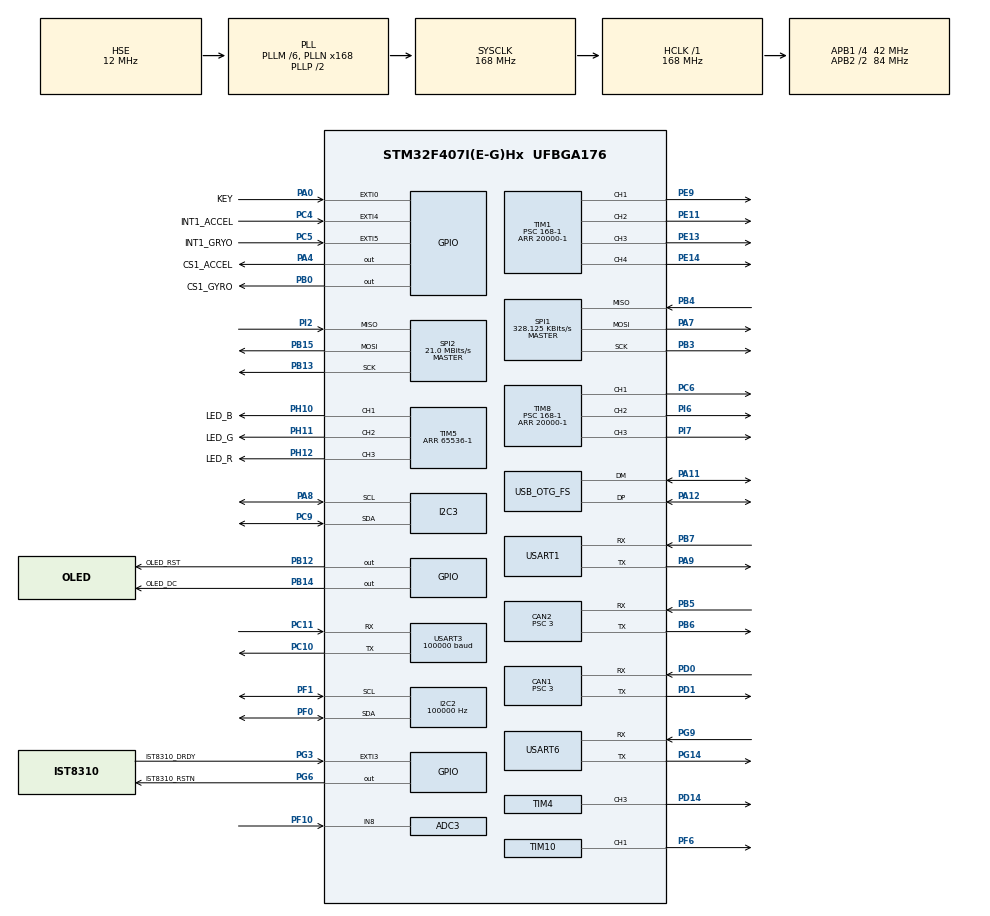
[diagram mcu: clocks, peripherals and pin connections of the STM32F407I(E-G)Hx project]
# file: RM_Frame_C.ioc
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ADC1.Channel-3\#ChannelRegularConversion=ADC_CHANNEL_VREFINT
ADC1.ContinuousConvMode=ENABLE
ADC1.NbrOfConversionFlag=1
ADC1.Rank-3\#ChannelRegularConversion=1
ADC1.SamplingTime-3\#ChannelRegularConversion=ADC_SAMPLETIME_3CYCLES
ADC1.master=1
ADC3.Channel-0\#ChannelRegularConversion=ADC_CHANNEL_8
ADC3.ContinuousConvMode=ENABLE
ADC3.NbrOfConversionFlag=1
ADC3.Rank-0\#ChannelRegularConversion=1
ADC3.SamplingTime-0\#ChannelRegularConversion=ADC_SAMPLETIME_3CYCLES
CAN1.BS1=CAN_BS1_10TQ
CAN1.BS2=CAN_BS2_3TQ
CAN1.CalculateBaudRate=1000000
CAN1.CalculateTimeQuantum=71.42857142857143
CAN1.Prescaler=3
CAN2.BS1=CAN_BS1_10TQ
CAN2.BS2=CAN_BS2_3TQ
CAN2.CalculateBaudRate=1000000
CAN2.CalculateTimeQuantum=71.42857142857143
CAN2.Prescaler=3
Dma.Request0=USART3_RX
Dma.Request1=SPI1_RX
Dma.Request2=SPI1_TX
Dma.Request3=SPI2_TX
Dma.Request4=USART6_RX
Dma.SPI1_RX.1.Direction=DMA_PERIPH_TO_MEMORY
Dma.SPI1_RX.1.FIFOMode=DMA_FIFOMODE_DISABLE
Dma.SPI1_RX.1.Instance=DMA2_Stream0
Dma.SPI1_RX.1.MemDataAlignment=DMA_MDATAALIGN_BYTE
Dma.SPI1_RX.1.MemInc=DMA_MINC_ENABLE
Dma.SPI1_RX.1.Mode=DMA_NORMAL
Dma.SPI1_RX.1.PeriphDataAlignment=DMA_PDATAALIGN_BYTE
Dma.SPI1_RX.1.PeriphInc=DMA_PINC_DISABLE
Dma.SPI1_RX.1.Priority=DMA_PRIORITY_VERY_HIGH
Dma.SPI1_TX.2.Direction=DMA_MEMORY_TO_PERIPH
Dma.SPI1_TX.2.FIFOMode=DMA_FIFOMODE_DISABLE
Dma.SPI1_TX.2.Instance=DMA2_Stream3
Dma.SPI1_TX.2.MemDataAlignment=DMA_MDATAALIGN_BYTE
Dma.SPI1_TX.2.MemInc=DMA_MINC_ENABLE
Dma.SPI1_TX.2.Mode=DMA_NORMAL
Dma.SPI1_TX.2.PeriphDataAlignment=DMA_PDATAALIGN_BYTE
Dma.SPI1_TX.2.PeriphInc=DMA_PINC_DISABLE
Dma.SPI1_TX.2.Priority=DMA_PRIORITY_HIGH
Dma.SPI2_TX.3.Direction=DMA_MEMORY_TO_PERIPH
Dma.SPI2_TX.3.FIFOMode=DMA_FIFOMODE_DISABLE
Dma.SPI2_TX.3.Instance=DMA1_Stream4
Dma.SPI2_TX.3.MemDataAlignment=DMA_MDATAALIGN_BYTE
Dma.SPI2_TX.3.MemInc=DMA_MINC_ENABLE
Dma.SPI2_TX.3.Mode=DMA_NORMAL
Dma.SPI2_TX.3.PeriphDataAlignment=DMA_PDATAALIGN_BYTE
Dma.SPI2_TX.3.PeriphInc=DMA_PINC_DISABLE
Dma.SPI2_TX.3.Priority=DMA_PRIORITY_HIGH
Dma.USART3_RX.0.Direction=DMA_PERIPH_TO_MEMORY
Dma.USART3_RX.0.FIFOMode=DMA_FIFOMODE_DISABLE
Dma.USART3_RX.0.Instance=DMA1_Stream1
Dma.USART3_RX.0.MemDataAlignment=DMA_MDATAALIGN_BYTE
Dma.USART3_RX.0.MemInc=DMA_MINC_ENABLE
Dma.USART3_RX.0.Mode=DMA_NORMAL
Dma.USART3_RX.0.PeriphDataAlignment=DMA_PDATAALIGN_BYTE
Dma.USART3_RX.0.PeriphInc=DMA_PINC_DISABLE
Dma.USART3_RX.0.Priority=DMA_PRIORITY_VERY_HIGH
Dma.USART6_RX.4.Direction=DMA_PERIPH_TO_MEMORY
Dma.USART6_RX.4.FIFOMode=DMA_FIFOMODE_DISABLE
Dma.USART6_RX.4.Instance=DMA2_Stream1
Dma.USART6_RX.4.MemDataAlignment=DMA_MDATAALIGN_BYTE
Dma.USART6_RX.4.MemInc=DMA_MINC_ENABLE
Dma.USART6_RX.4.Mode=DMA_NORMAL
Dma.USART6_RX.4.PeriphDataAlignment=DMA_PDATAALIGN_BYTE
Dma.USART6_RX.4.PeriphInc=DMA_PINC_DISABLE
Dma.USART6_RX.4.Priority=DMA_PRIORITY_VERY_HIGH
I2C2.ClockSpeed=100000
I2C2.DutyCycle=I2C_DUTYCYCLE_2
I2C2.I2C_Mode=I2C_Standard
I2C3.I2C_Mode=I2C_Fast
IWDG.Prescaler=IWDG_PRESCALER_8
IWDG.Reload=0xfff
Mcu.Family=STM32F4
Mcu.Name=STM32F407I(E-G)Hx
Mcu.Package=UFBGA176
NVIC.CAN1_RX0_IRQn=true\:0\:0\:false\:false\:true\:true\:true\:true
NVIC.CAN2_RX0_IRQn=true\:1\:0\:true\:false\:true\:true\:true\:true
NVIC.DMA1_Stream1_IRQn=true\:0\:0\:false\:false\:true\:false\:true\:true
NVIC.DMA1_Stream4_IRQn=true\:0\:0\:false\:false\:true\:false\:true\:true
NVIC.DMA2_Stream0_IRQn=true\:0\:0\:false\:false\:true\:false\:true\:true
NVIC.DMA2_Stream1_IRQn=true\:0\:0\:false\:false\:true\:false\:true\:true
NVIC.DMA2_Stream3_IRQn=true\:0\:0\:false\:false\:true\:false\:true\:true
NVIC.EXTI0_IRQn=true\:10\:0\:true\:false\:true\:true\:true\:true
NVIC.EXTI3_IRQn=true\:5\:0\:true\:false\:true\:true\:true\:true
NVIC.EXTI4_IRQn=true\:5\:0\:true\:false\:true\:true\:true\:true
NVIC.EXTI9_5_IRQn=true\:5\:0\:true\:false\:true\:true\:true\:true
NVIC.I2C2_ER_IRQn=true\:0\:0\:false\:false\:true\:true\:true\:true
NVIC.I2C2_EV_IRQn=true\:0\:0\:false\:false\:true\:true\:true\:true
NVIC.OTG_FS_IRQn=true\:0\:0\:false\:false\:true\:false\:true\:true
NVIC.PriorityGroup=NVIC_PRIORITYGROUP_4
NVIC.SPI2_IRQn=true\:10\:0\:true\:false\:true\:true\:true\:true
NVIC.TIM1_TRG_COM_TIM11_IRQn=true\:0\:0\:false\:false\:true\:true\:true\:true
NVIC.TIM1_UP_TIM10_IRQn=true\:10\:0\:true\:false\:true\:true\:true\:true
NVIC.TIM6_DAC_IRQn=true\:8\:0\:true\:false\:true\:true\:true\:true
NVIC.TIM7_IRQn=true\:2\:0\:true\:false\:true\:true\:true\:true
NVIC.USART1_IRQn=true\:4\:0\:true\:false\:true\:true\:true\:true
NVIC.USART3_IRQn=true\:0\:0\:true\:false\:false\:true\:true\:true
NVIC.USART6_IRQn=true\:4\:0\:true\:false\:true\:true\:true\:true
PA0-WKUP.GPIO_Label=KEY
PA0-WKUP.GPIO_ModeDefaultEXTI=GPIO_MODE_IT_RISING_FALLING
PA0-WKUP.GPIO_PuPd=GPIO_NOPULL
PA0-WKUP.Signal=GPXTI0
PA11.Mode=Device_Only
PA11.Signal=USB_OTG_FS_DM
PA12.Mode=Device_Only
PA12.Signal=USB_OTG_FS_DP
PA13.Mode=Serial_Wire
PA13.Signal=SYS_JTMS-SWDIO
PA14.Mode=Serial_Wire
PA14.Signal=SYS_JTCK-SWCLK
PA4.GPIO_Label=CS1_ACCEL
PA4.GPIO_PuPd=GPIO_PULLUP
PA4.GPIO_Speed=GPIO_SPEED_FREQ_HIGH
PA4.PinState=GPIO_PIN_SET
PA4.Signal=GPIO_Output
PA7.Mode=Full_Duplex_Master
PA7.Signal=SPI1_MOSI
PA8.GPIO_Pu=GPIO_PULLUP
PA8.Mode=I2C
PA8.Signal=I2C3_SCL
PA9.Mode=Asynchronous
PA9.Signal=USART1_TX
PB0.GPIO_Label=CS1_GYRO
PB0.GPIO_PuPd=GPIO_PULLUP
PB0.GPIO_Speed=GPIO_SPEED_FREQ_HIGH
PB0.PinState=GPIO_PIN_SET
PB0.Signal=GPIO_Output
PB12.GPIO_Label=OLED_RST
PB12.GPIO_PuPd=GPIO_PULLUP
PB12.GPIO_Speed=GPIO_SPEED_FREQ_HIGH
PB12.PinState=GPIO_PIN_SET
PB12.Signal=GPIO_Output
PB13.Mode=Full_Duplex_Master
PB13.Signal=SPI2_SCK
PB14.GPIO_Label=OLED_DC
PB14.GPIO_PuPd=GPIO_PULLUP
PB14.GPIO_Speed=GPIO_SPEED_FREQ_HIGH
PB14.PinState=GPIO_PIN_SET
PB14.Signal=GPIO_Output
PB15.Mode=Full_Duplex_Master
PB15.Signal=SPI2_MOSI
PB3.Mode=Full_Duplex_Master
PB3.Signal=SPI1_SCK
PB4.Mode=Full_Duplex_Master
PB4.Signal=SPI1_MISO
PB5.Mode=CAN_Activate
PB5.Signal=CAN2_RX
PB6.Mode=CAN_Activate
PB6.Signal=CAN2_TX
PB7.Mode=Asynchronous
PB7.Signal=USART1_RX
PC10.Mode=Asynchronous
PC10.Signal=USART3_TX
PC11.Mode=Asynchronous
PC11.Signal=USART3_RX
PC4.GPIO_Label=INT1_ACCEL
PC4.GPIO_ModeDefaultEXTI=GPIO_MODE_IT_FALLING
PC4.GPIO_PuPd=GPIO_PULLUP
PC4.Signal=GPXTI4
PC5.GPIO_Label=INT1_GRYO
PC5.GPIO_ModeDefaultEXTI=GPIO_MODE_IT_FALLING
PC5.GPIO_PuPd=GPIO_PULLUP
PC5.Signal=GPXTI5
PC6.Signal=S_TIM8_CH1
PC9.GPIO_Pu=GPIO_PULLUP
PC9.Mode=I2C
PC9.Signal=I2C3_SDA
PD0.Mode=CAN_Activate
PD0.Signal=CAN1_RX
PD1.Mode=CAN_Activate
PD1.Signal=CAN1_TX
PD14.Signal=S_TIM4_CH3
PE11.Signal=S_TIM1_CH2
PE13.Signal=S_TIM1_CH3
PE14.Signal=S_TIM1_CH4
PE9.Signal=S_TIM1_CH1
PF0.GPIO_Pu=GPIO_PULLUP
PF0.Mode=I2C
PF0.Signal=I2C2_SDA
PF1.GPIO_Pu=GPIO_PULLUP
PF1.Mode=I2C
PF1.Signal=I2C2_SCL
PF10.Mode=IN8
PF10.Signal=ADC3_IN8
PF6.Signal=S_TIM10_CH1
PG14.Mode=Asynchronous
PG14.Signal=USART6_TX
PG3.GPIO_Label=IST8310_DRDY
PG3.GPIO_ModeDefaultEXTI=GPIO_MODE_IT_FALLING
PG3.GPIO_PuPd=GPIO_PULLUP
PG3.Signal=GPXTI3
PG6.GPIO_Label=IST8310_RSTN
PG6.GPIO_PuPd=GPIO_PULLUP
PG6.GPIO_Speed=GPIO_SPEED_FREQ_MEDIUM
PG6.PinState=GPIO_PIN_SET
PG6.Signal=GPIO_Output
PG9.Mode=Asynchronous
PG9.Signal=USART6_RX
PH0-OSC_IN.Mode=HSE-External-Oscillator
PH0-OSC_IN.Signal=RCC_OSC_IN
PH1-OSC_OUT.Mode=HSE-External-Oscillator
PH1-OSC_OUT.Signal=RCC_OSC_OUT
PH10.GPIO_Label=LED_B
PH10.GPIO_ModeDefaultPP=GPIO_MODE_AF_PP
PH10.GPIO_PuPd=GPIO_NOPULL
PH10.GPIO_Speed=GPIO_SPEED_FREQ_LOW
PH10.Signal=S_TIM5_CH1
PH11.GPIO_Label=LED_G
PH11.GPIO_ModeDefaultPP=GPIO_MODE_AF_PP
PH11.GPIO_PuPd=GPIO_NOPULL
PH11.GPIO_Speed=GPIO_SPEED_FREQ_LOW
PH11.Signal=S_TIM5_CH2
PH12.GPIO_Label=LED_R
PH12.GPIO_ModeDefaultPP=GPIO_MODE_AF_PP
PH12.GPIO_PuPd=GPIO_NOPULL
PH12.GPIO_Speed=GPIO_SPEED_FREQ_LOW
PH12.Signal=S_TIM5_CH3
PI2.Mode=Full_Duplex_Master
PI2.Signal=SPI2_MISO
PI6.Signal=S_TIM8_CH2
PI7.Signal=S_TIM8_CH3
ProjectManager.HeapSize=0x2000
ProjectManager.StackSize=0x800
ProjectManager.TargetToolchain=Makefile
RCC.48MHZClocksFreq_Value=48000000
RCC.AHBFreq_Value=168000000
RCC.APB1CLKDivider=RCC_HCLK_DIV4
RCC.APB1Freq_Value=42000000
RCC.APB1TimFreq_Value=84000000
RCC.APB2CLKDivider=RCC_HCLK_DIV2
RCC.APB2Freq_Value=84000000
RCC.APB2TimFreq_Value=168000000
RCC.CortexFreq_Value=168000000
RCC.HCLKFreq_Value=168000000
RCC.HSE_VALUE=12000000
RCC.HSI_VALUE=16000000
RCC.LSE_VALUE=32768
RCC.PLLM=6
RCC.PLLN=168
RCC.PLLQ=7
RCC.SYSCLKFreq_VALUE=168000000
RCC.SYSCLKSource=RCC_SYSCLKSOURCE_PLLCLK
RCC.VCOOutputFreq_Value=336000000
SH.S_TIM10_CH1.0=TIM10_CH1,PWM Generation1 CH1
SH.S_TIM1_CH1.0=TIM1_CH1,PWM Generation1 CH1
SH.S_TIM1_CH2.0=TIM1_CH2,PWM Generation2 CH2
SH.S_TIM1_CH3.0=TIM1_CH3,PWM Generation3 CH3
SH.S_TIM1_CH4.0=TIM1_CH4,PWM Generation4 CH4
SH.S_TIM4_CH3.0=TIM4_CH3,PWM Generation3 CH3
SH.S_TIM5_CH1.0=TIM5_CH1,PWM Generation1 CH1
SH.S_TIM5_CH2.0=TIM5_CH2,PWM Generation2 CH2
SH.S_TIM5_CH3.0=TIM5_CH3,PWM Generation3 CH3
SH.S_TIM8_CH1.0=TIM8_CH1,PWM Generation1 CH1
SH.S_TIM8_CH2.0=TIM8_CH2,PWM Generation2 CH2
SH.S_TIM8_CH3.0=TIM8_CH3,PWM Generation3 CH3
SPI1.BaudRatePrescaler=SPI_BAUDRATEPRESCALER_256
SPI1.CLKPhase=SPI_PHASE_2EDGE
SPI1.CLKPolarity=SPI_POLARITY_HIGH
SPI1.CalculateBaudRate=328.125 KBits/s
SPI1.Direction=SPI_DIRECTION_2LINES
SPI1.Mode=SPI_MODE_MASTER
SPI1.VirtualType=VM_MASTER
SPI2.CalculateBaudRate=21.0 MBits/s
SPI2.Direction=SPI_DIRECTION_2LINES
SPI2.Mode=SPI_MODE_MASTER
SPI2.VirtualType=VM_MASTER
TIM1.Channel-PWM\ Generation1\ CH1=TIM_CHANNEL_1
TIM1.Channel-PWM\ Generation2\ CH2=TIM_CHANNEL_2
TIM1.Channel-PWM\ Generation3\ CH3=TIM_CHANNEL_3
TIM1.Channel-PWM\ Generation4\ CH4=TIM_CHANNEL_4
TIM1.Period=20000-1
TIM1.Prescaler=168-1
TIM1.Pulse-PWM\ Generation1\ CH1=2000
TIM1.Pulse-PWM\ Generation3\ CH3=2000
TIM1.Pulse-PWM\ Generation4\ CH4=2000
TIM10.Channel=TIM_CHANNEL_1
TIM10.Period=1000-1
TIM10.Prescaler=168-1
TIM4.Channel-PWM\ Generation3\ CH3=TIM_CHANNEL_3
TIM4.Period=21000-1
TIM5.Channel-PWM\ Generation1\ CH1=TIM_CHANNEL_1
TIM5.Channel-PWM\ Generation2\ CH2=TIM_CHANNEL_2
TIM5.Channel-PWM\ Generation3\ CH3=TIM_CHANNEL_3
TIM5.OCPolarity_1=TIM_OCPOLARITY_HIGH
TIM5.Period=65536-1
TIM5.Pulse-PWM\ Generation1\ CH1=0
TIM5.Pulse-PWM\ Generation2\ CH2=0
TIM5.Pulse-PWM\ Generation3\ CH3=10000
TIM6.Period=999
TIM6.Prescaler=209
TIM7.Period=999
TIM7.Prescaler=83
TIM8.Channel-PWM\ Generation1\ CH1=TIM_CHANNEL_1
TIM8.Channel-PWM\ Generation2\ CH2=TIM_CHANNEL_2
TIM8.Channel-PWM\ Generation3\ CH3=TIM_CHANNEL_3
TIM8.Period=20000-1
TIM8.Prescaler=168-1
TIM8.Pulse-PWM\ Generation1\ CH1=2000
TIM8.Pulse-PWM\ Generation2\ CH2=2000
TIM8.Pulse-PWM\ Generation3\ CH3=2000
USART1.VirtualMode=VM_ASYNC
USART3.BaudRate=100000
USART3.VirtualMode=VM_ASYNC
USART6.VirtualMode=VM_ASYNC
USB_DEVICE.CLASS_NAME_FS=CDC
USB_DEVICE.VirtualMode-CDC_FS=Cdc
USB_DEVICE.VirtualModeFS=Cdc_FS
USB_OTG_FS.VirtualMode=Device_Only
VP_ADC1_Vref_Input.Mode=IN-Vrefint
VP_IWDG_VS_IWDG.Mode=IWDG_Activate
VP_TIM10_VS_ClockSourceINT.Mode=Enable_Timer
VP_TIM1_VS_ClockSourceINT.Mode=Internal
VP_TIM4_VS_ClockSourceINT.Mode=Internal
VP_TIM5_VS_ClockSourceINT.Mode=Internal
VP_TIM6_VS_ClockSourceINT.Mode=Enable_Timer
VP_TIM7_VS_ClockSourceINT.Mode=Enable_Timer
VP_TIM8_VS_ClockSourceINT.Mode=Internal
VP_USB_DEVICE_VS_USB_DEVICE_CDC_FS.Mode=CDC_FS
board=custom

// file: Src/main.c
/* USER CODE BEGIN Header */
/**
  ******************************************************************************
  * @file           : main.c
  * @brief          : Main program body
  ******************************************************************************
  ** This notice applies to any and all portions of this file
  * that are not between comment pairs USER CODE BEGIN and
  * USER CODE END. Other portions of this file, whether
  * inserted by the user or by software development tools
  * are owned by their respective copyright owners.
  *
  * COPYRIGHT(c) 2021 STMicroelectronics
  *
  * Redistribution and use in source and binary forms, with or without modification,
  * are permitted provided that the following conditions are met:
  *   1. Redistributions of source code must retain the above copyright notice,
  *      this list of conditions and the following disclaimer.
  *   2. Redistributions in binary form must reproduce the above copyright notice,
  *      this list of conditions and the following disclaimer in the documentation
  *      and/or other materials provided with the distribution.
  *   3. Neither the name of STMicroelectronics nor the names of its contributors
  *      may be used to endorse or promote products derived from this software
  *      without specific prior written permission.
  *
  * THIS SOFTWARE IS PROVIDED BY THE COPYRIGHT HOLDERS AND CONTRIBUTORS "AS IS"
  * AND ANY EXPRESS OR IMPLIED WARRANTIES, INCLUDING, BUT NOT LIMITED TO, THE
  * IMPLIED WARRANTIES OF MERCHANTABILITY AND FITNESS FOR A PARTICULAR PURPOSE ARE
  * DISCLAIMED. IN NO EVENT SHALL THE COPYRIGHT HOLDER OR CONTRIBUTORS BE LIABLE
  * FOR ANY DIRECT, INDIRECT, INCIDENTAL, SPECIAL, EXEMPLARY, OR CONSEQUENTIAL
  * DAMAGES (INCLUDING, BUT NOT LIMITED TO, PROCUREMENT OF SUBSTITUTE GOODS OR
  * SERVICES; LOSS OF USE, DATA, OR PROFITS; OR BUSINESS INTERRUPTION) HOWEVER
  * CAUSED AND ON ANY THEORY OF LIABILITY, WHETHER IN CONTRACT, STRICT LIABILITY,
  * OR TORT (INCLUDING NEGLIGENCE OR OTHERWISE) ARISING IN ANY WAY OUT OF THE USE
  * OF THIS SOFTWARE, EVEN IF ADVISED OF THE POSSIBILITY OF SUCH DAMAGE.
  *
  ******************************************************************************
  */
/* USER CODE END Header */
#include "main.h"
#include "adc.h"
#include "can.h"
#include "dma.h"
#include "i2c.h"
#include "iwdg.h"
#include "spi.h"
#include "tim.h"
#include "usart.h"
#include "usb_device.h"
#include "gpio.h"

/* USER CODE BEGIN Includes */
#include <stdarg.h>
#include <string.h>
#include <math.h>
#include <stdio.h>
#include "usbd_cdc_if.h"
/* USER CODE END Includes */

/* USER CODE BEGIN PTD */
#if defined(__ARMCC_VERSION)  /* Keil/ARMCC only - patched */

/*******************************************************************************
* Copyright (c) 2025.
 * IWIN-FINS Lab, Shanghai Jiao Tong University, Shanghai, China.
 * All rights reserved.
 ******************************************************************************/

#if __ARMCC_VERSION >= 6000000
__asm(".global __use_no_semihosting");
#elif __ARMCC_VERSION >= 5000000
#pragma import(__use_no_semihosting)
#else
#error Unsupported compiler
#endif

#include <rt_sys.h>
#include <rt_misc.h>
#include <time.h>

const char __stdin_name[] =  ":tt";
const char __stdout_name[] =  ":tt";
const char __stderr_name[] =  ":tt";

FILEHANDLE _sys_open(const char *name, int openmode){
    return 1;
}

int _sys_close(FILEHANDLE fh){
    return 0;
}

char *_sys_command_string(char *cmd, int len){
    return NULL;
}

int _sys_write(FILEHANDLE fh, const unsigned char *buf, unsigned len, int mode){
    return 0;
}

int _sys_read(FILEHANDLE fh, unsigned char *buf, unsigned len, int mode){
    return -1;
}

void _ttywrch(int ch){
}

int _sys_istty(FILEHANDLE fh){
    return 0;
}

int _sys_seek(FILEHANDLE fh, long pos){
    return -1;
}

long _sys_flen(FILEHANDLE fh){
    return -1;
}

void _sys_exit(int return_code) {
    while (1)
        ;
}

clock_t clock(void){
    clock_t tmp;
    return tmp;
}

void _clock_init(void){
}

time_t time(time_t *timer){
    time_t tmp;
    return tmp;
}

int system(const char *string){
    return 0;
}

#else
/* GCC: retargeting is provided by Src/syscalls.c + Src/sysmem.c */
#endif /* __ARMCC_VERSION */
/* USER CODE END PTD */

void SystemClock_Config(void);

#if 0  /* patched: real main() is userCode/devices/Src/Usermain.cpp */
int main(void)
{

  /* MCU Configuration--------------------------------------------------------*/

  /* Reset of all peripherals, Initializes the Flash interface and the Systick. */
  HAL_Init();

  /* Configure the system clock */
  SystemClock_Config();

  /* Initialize all configured peripherals */
  MX_GPIO_Init();
  MX_DMA_Init();
  MX_TIM5_Init();
  MX_TIM1_Init();
  MX_TIM4_Init();
  MX_TIM10_Init();
  MX_TIM8_Init();
  MX_ADC1_Init();
  MX_ADC3_Init();
  MX_USART1_UART_Init();
  MX_USART6_UART_Init();
  MX_USART3_UART_Init();
  MX_CAN1_Init();
  MX_CAN2_Init();
  MX_I2C3_Init();
  MX_SPI1_Init();
  MX_IWDG_Init();
  MX_USB_DEVICE_Init();
  MX_TIM6_Init();
  MX_TIM7_Init();
  MX_SPI2_Init();
  MX_I2C2_Init();

  /* Infinite loop */
  while (1)
  {

  }
}
#endif

void SystemClock_Config(void)
{
  RCC_OscInitTypeDef RCC_OscInitStruct = {0};
  RCC_ClkInitTypeDef RCC_ClkInitStruct = {0};

  /** Configure the main internal regulator output voltage
  */
  __HAL_RCC_PWR_CLK_ENABLE();
  __HAL_PWR_VOLTAGESCALING_CONFIG(PWR_REGULATOR_VOLTAGE_SCALE1);

  /** Initializes the RCC Oscillators according to the specified parameters
  * in the RCC_OscInitTypeDef structure.
  */
  RCC_OscInitStruct.OscillatorType = RCC_OSCILLATORTYPE_LSI|RCC_OSCILLATORTYPE_HSE;
  RCC_OscInitStruct.HSEState = RCC_HSE_ON;
  RCC_OscInitStruct.LSIState = RCC_LSI_ON;
  RCC_OscInitStruct.PLL.PLLState = RCC_PLL_ON;
  RCC_OscInitStruct.PLL.PLLSource = RCC_PLLSOURCE_HSE;
  RCC_OscInitStruct.PLL.PLLM = 6;
  RCC_OscInitStruct.PLL.PLLN = 168;
  RCC_OscInitStruct.PLL.PLLP = RCC_PLLP_DIV2;
  RCC_OscInitStruct.PLL.PLLQ = 7;
  if (HAL_RCC_OscConfig(&RCC_OscInitStruct) != HAL_OK)
  {
    Error_Handler();
  }

  /** Initializes the CPU, AHB and APB buses clocks
  */
  RCC_ClkInitStruct.ClockType = RCC_CLOCKTYPE_HCLK|RCC_CLOCKTYPE_SYSCLK
                              |RCC_CLOCKTYPE_PCLK1|RCC_CLOCKTYPE_PCLK2;
  RCC_ClkInitStruct.SYSCLKSource = RCC_SYSCLKSOURCE_PLLCLK;
  RCC_ClkInitStruct.AHBCLKDivider = RCC_SYSCLK_DIV1;
  RCC_ClkInitStruct.APB1CLKDivider = RCC_HCLK_DIV4;
  RCC_ClkInitStruct.APB2CLKDivider = RCC_HCLK_DIV2;

  if (HAL_RCC_ClockConfig(&RCC_ClkInitStruct, FLASH_LATENCY_5) != HAL_OK)
  {
    Error_Handler();
  }
}

void Error_Handler(void)
{
}
